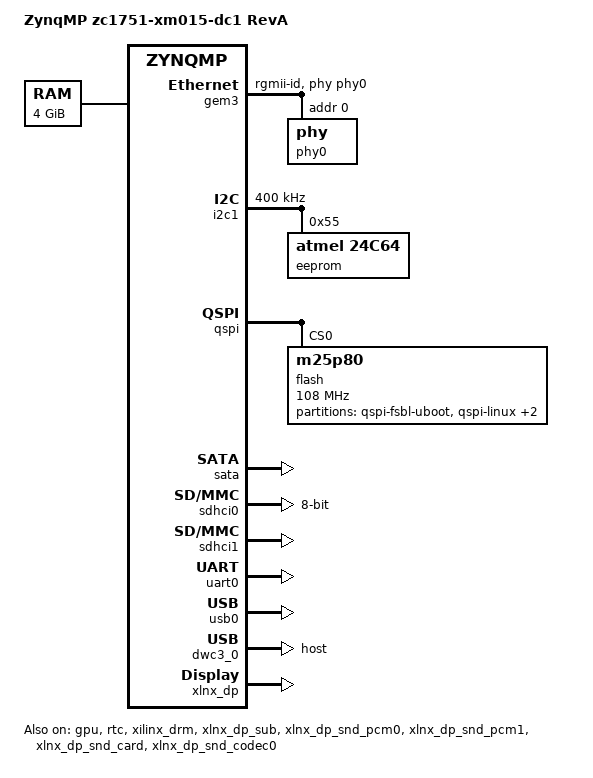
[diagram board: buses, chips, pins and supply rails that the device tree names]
// SPDX-License-Identifier: GPL-2.0+
/*
 * dts file for Xilinx ZynqMP zc1751-xm015-dc1
 *
 * (C) Copyright 2015 - 2018, Xilinx, Inc.
 *
 * Michal Simek <michal.simek@xilinx.com>
 */

/dts-v1/;

#include "zynqmp.dtsi"
#include "zynqmp-clk-ccf.dtsi"

/ {
	model = "ZynqMP zc1751-xm015-dc1 RevA";
	compatible = "xlnx,zynqmp-zc1751", "xlnx,zynqmp";

	aliases {
		ethernet0 = &gem3;
		gpio0 = &gpio;
		i2c0 = &i2c1;
		mmc0 = &sdhci0;
		mmc1 = &sdhci1;
		rtc0 = &rtc;
		serial0 = &uart0;
		spi0 = &qspi;
		usb0 = &usb0;
	};

	chosen {
		bootargs = "earlycon";
		stdout-path = "serial0:115200n8";
	};

	memory@0 {
		device_type = "memory";
		reg = <0x0 0x0 0x0 0x80000000>, <0x8 0x00000000 0x0 0x80000000>;
	};
};

&fpd_dma_chan1 {
	status = "okay";
};

&fpd_dma_chan2 {
	status = "okay";
};

&fpd_dma_chan3 {
	status = "okay";
};

&fpd_dma_chan4 {
	status = "okay";
};

&fpd_dma_chan5 {
	status = "okay";
};

&fpd_dma_chan6 {
	status = "okay";
};

&fpd_dma_chan7 {
	status = "okay";
};

&fpd_dma_chan8 {
	status = "okay";
};

&gem3 {
	status = "okay";
	phy-handle = <&phy0>;
	phy-mode = "rgmii-id";
	phy0: phy@0 {
		reg = <0>;
	};
};

&gpio {
	status = "okay";
};

&gpu {
	status = "okay";
};

&i2c1 {
	status = "okay";
	clock-frequency = <400000>;

	eeprom: eeprom@55 {
		compatible = "atmel,24c64"; /* 24AA64 */
		reg = <0x55>;
	};
};

&qspi {
	status = "okay";
	flash@0 {
		compatible = "m25p80", "jedec,spi-nor"; /* Micron MT25QU512ABB8ESF */
		#address-cells = <1>;
		#size-cells = <1>;
		reg = <0x0>;
		spi-tx-bus-width = <1>;
		spi-rx-bus-width = <4>;
		spi-max-frequency = <108000000>; /* Based on DC1 spec */
		partition@qspi-fsbl-uboot { /* for testing purpose */
			label = "qspi-fsbl-uboot";
			reg = <0x0 0x100000>;
		};
		partition@qspi-linux { /* for testing purpose */
			label = "qspi-linux";
			reg = <0x100000 0x500000>;
		};
		partition@qspi-device-tree { /* for testing purpose */
			label = "qspi-device-tree";
			reg = <0x600000 0x20000>;
		};
		partition@qspi-rootfs { /* for testing purpose */
			label = "qspi-rootfs";
			reg = <0x620000 0x5E0000>;
		};
	};
};

&rtc {
	status = "okay";
};

&sata {
	status = "okay";
	/* SATA phy OOB timing settings */
	ceva,p0-cominit-params = /bits/ 8 <0x1B 0x4D 0x18 0x28>;
	ceva,p0-comwake-params = /bits/ 8 <0x06 0x19 0x08 0x0E>;
	ceva,p0-burst-params = /bits/ 8 <0x13 0x08 0x4A 0x06>;
	ceva,p0-retry-params = /bits/ 16 <0x96A4 0x3FFC>;
	ceva,p1-cominit-params = /bits/ 8 <0x1B 0x4D 0x18 0x28>;
	ceva,p1-comwake-params = /bits/ 8 <0x06 0x19 0x08 0x0E>;
	ceva,p1-burst-params = /bits/ 8 <0x13 0x08 0x4A 0x06>;
	ceva,p1-retry-params = /bits/ 16 <0x96A4 0x3FFC>;
};

/* eMMC */
&sdhci0 {
	status = "okay";
	bus-width = <8>;
	xlnx,mio_bank = <0>;
};

/* SD1 with level shifter */
&sdhci1 {
	status = "okay";
	no-1-8-v;       /* for 1.0 silicon */
	xlnx,mio_bank = <1>;
};

&uart0 {
	status = "okay";
};

/* ULPI SMSC USB3320 */
&usb0 {
	status = "okay";
};

&dwc3_0 {
	status = "okay";
	dr_mode = "host";
};

&xilinx_drm {
	status = "okay";
};

&xlnx_dp {
	status = "okay";
};

&xlnx_dp_sub {
	status = "okay";
	xlnx,vid-clk-pl;
};

&xlnx_dp_snd_pcm0 {
	status = "okay";
};

&xlnx_dp_snd_pcm1 {
	status = "okay";
};

&xlnx_dp_snd_card {
	status = "okay";
};

&xlnx_dp_snd_codec0 {
	status = "okay";
};

&xlnx_dpdma {
	status = "okay";
};
